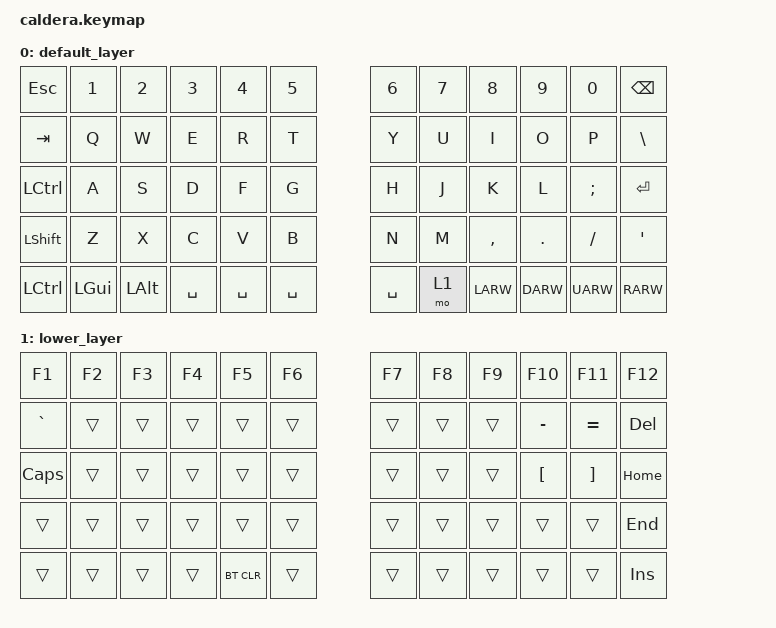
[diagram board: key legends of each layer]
#include <behaviors.dtsi>
#include <dt-bindings/zmk/keys.h>
#include <dt-bindings/zmk/bt.h>

/ {
        keymap {
                compatible = "zmk,keymap";

                default_layer {
// ---------------------------------------------------------------------------------
// |  ESC |  1  |  2  |  3  |  4  |  5  |     |  6  |  7  |  8  |  9  |  0  | BKSP |
// |  TAB |  Q  |  W  |  E  |  R  |  T  |     |  Y  |  U  |  I  |  O  |  P  |  \   |
// | CTRL |  A  |  S  |  D  |  F  |  G  |     |  H  |  J  |  K  |  L  |  ;  |  ENT |
// | SHFT |  Z  |  X  |  C  |  V  |  B  |     |  N  |  M  |  ,  |  .  |  /  | APOS |
// | CTRL | GUI | ALT | SPC | SPC | SPC |     | SPC | LOW |LARW |DARW |UARW | RARW |
                        bindings = <
   &kp ESC    &kp N1    &kp N2    &kp N3     &kp N4     &kp N5               &kp N6     &kp N7  &kp N8     &kp N9    &kp N0    &kp BSPC
   &kp TAB    &kp Q     &kp W     &kp E      &kp R      &kp T                &kp Y      &kp U   &kp I      &kp O     &kp P     &kp BSLH
   &kp LCTRL  &kp A     &kp S     &kp D      &kp F      &kp G                &kp H      &kp J   &kp K      &kp L     &kp SEMI  &kp RET
   &kp LSHFT  &kp Z     &kp X     &kp C      &kp V      &kp B                &kp N      &kp M   &kp COMMA  &kp DOT   &kp FSLH  &kp APOS
   &kp LCTRL  &kp LGUI  &kp LALT  &kp SPACE  &kp SPACE  &kp SPACE            &kp SPACE  &mo 1   &kp LARW   &kp DARW  &kp UARW  &kp RARW
                        >;
                };
                lower_layer {
// ------------------------------------------------------------------------------------------------------------
// |  F1  |  F2  |  F3  |  F4  |   F5   |  F6  |          |  F7  |  F8  |  F9  |  F10  |  F11  |  F12  |
// |   `  |      |      |      |        |      |          |      |      |      |   -   |   =   |  DEL  |
// | CAPS |      |      |      |        |      |          |      |      |      |  LBKT |  RBKT |  HOME |
// |      |      |      |      |        |      |          |      |      |      |       |       |  END  |
// |      |      |      |      | BT_CLR |      |          |      |      |      |       |       |  INS  |
                        bindings = <
   &kp F1     &kp F2  &kp F3  &kp F4  &kp F5      &kp F6                 &kp F7  &kp F8  &kp F9  &kp F10    &kp F11    &kp F12
   &kp GRAVE  &trans  &trans  &trans  &trans      &trans                 &trans  &trans  &trans  &kp MINUS  &kp EQUAL  &kp DEL
   &kp CAPS   &trans  &trans  &trans  &trans      &trans                 &trans  &trans  &trans  &kp LBKT   &kp RBKT   &kp HOME
   &trans     &trans  &trans  &trans  &trans      &trans                 &trans  &trans  &trans  &trans     &trans     &kp END
   &trans     &trans  &trans  &trans  &bt BT_CLR  &trans                 &trans  &trans  &trans  &trans     &trans     &kp INS
                        >;
                };
        };
};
